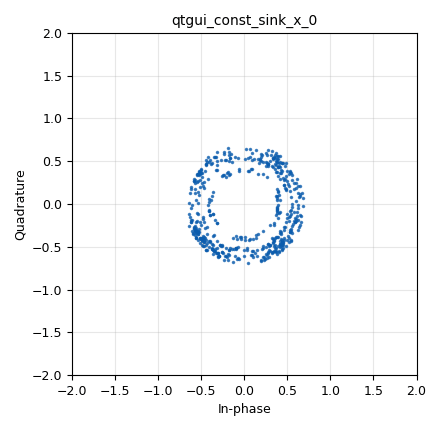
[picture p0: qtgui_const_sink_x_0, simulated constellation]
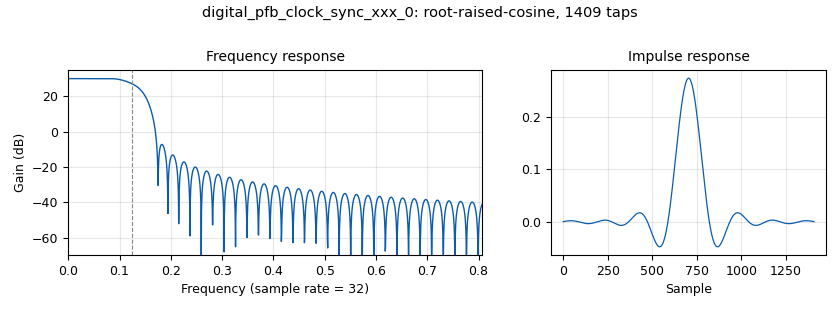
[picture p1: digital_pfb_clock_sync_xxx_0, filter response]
<?xml version='1.0' encoding='utf-8'?>
<?grc format='1' created='3.7.6'?>
<flow_graph>
<block>
<key>options</key>
<param><key>id</key><value>trcbpsk</value></param>
<param><key>generate_options</key><value>qt_gui</value></param>
<param><key>category</key><value>Custom</value></param>
</block>
<block>
<key>variable</key>
<param><key>id</key><value>excess_bw</value></param>
<param><key>value</key><value>0.35</value></param>
</block>
<block>
<key>variable</key>
<param><key>id</key><value>rrc_taps</value></param>
<param><key>value</key><value>firdes.root_raised_cosine(nfilts, nfilts, 1.0/float(sps), 0.35, 11*sps*nfilts)</value></param>
</block>
<block>
<key>variable</key>
<param><key>id</key><value>taps</value></param>
<param><key>value</key><value>[1.0, 0.25-0.25j, 0.50 + 0.10j, -0.3 + 0.2j]</value></param>
</block>
<block>
<key>variable</key>
<param><key>id</key><value>samp_rate</value></param>
<param><key>value</key><value>32000</value></param>
</block>
<block>
<key>variable</key>
<param><key>id</key><value>sps</value></param>
<param><key>value</key><value>4</value></param>
</block>
<block>
<key>variable</key>
<param><key>id</key><value>nfilts</value></param>
<param><key>value</key><value>32</value></param>
</block>
<block>
<key>qtgui_const_sink_x</key>
<param><key>id</key><value>qtgui_const_sink_x_0</value></param>
<param><key>type</key><value>complex</value></param>
<param><key>size</key><value>1024/2</value></param>
<param><key>grid</key><value>True</value></param>
<param><key>update_time</key><value>0.10/2</value></param>
<param><key>gui_hint</key><value>0,0,1,1</value></param>
</block>
<block>
<key>digital_psk_demod</key>
<param><key>id</key><value>digital_psk_demod_0</value></param>
<param><key>constellation_points</key><value>4</value></param>
<param><key>differential</key><value>True</value></param>
<param><key>samples_per_symbol</key><value>sps</value></param>
<param><key>excess_bw</key><value>0.35</value></param>
<param><key>freq_bw</key><value>6.28/100.0</value></param>
<param><key>timing_bw</key><value>6.28/100.0</value></param>
<param><key>phase_bw</key><value>6.28/100.0</value></param>
<param><key>mod_code</key><value>"gray"</value></param>
</block>
<block>
<key>blks2_packet_decoder</key>
<param><key>id</key><value>blks2_packet_decoder_0</value></param>
<param><key>type</key><value>byte</value></param>
<param><key>access_code</key><value></value></param>
<param><key>threshold</key><value>-1</value></param>
</block>
<block>
<key>blocks_file_sink</key>
<param><key>id</key><value>blocks_file_sink_0</value></param>
<param><key>file</key><value>/home/arun/Desktop/Untitled Folder/abc.txt</value></param>
<param><key>type</key><value>byte</value></param>
</block>
<block>
<key>blocks_throttle</key>
<param><key>id</key><value>blocks_throttle_0</value></param>
<param><key>type</key><value>complex</value></param>
<param><key>samples_per_second</key><value>samp_rate</value></param>
</block>
<block>
<key>analog_random_source_x</key>
<param><key>id</key><value>analog_random_source_x_0</value></param>
<param><key>type</key><value>byte</value></param>
<param><key>min</key><value>0</value></param>
<param><key>max</key><value>2</value></param>
<param><key>num_samps</key><value>1000</value></param>
<param><key>repeat</key><value>True</value></param>
</block>
<block>
<key>digital_pfb_clock_sync_xxx</key>
<param><key>id</key><value>digital_pfb_clock_sync_xxx_0</value></param>
<param><key>type</key><value>ccf</value></param>
<param><key>sps</key><value>sps</value></param>
<param><key>loop_bw</key><value>0.2</value></param>
<param><key>taps</key><value>rrc_taps</value></param>
<param><key>filter_size</key><value>nfilts</value></param>
<param><key>init_phase</key><value>16</value></param>
<param><key>max_dev</key><value>1.5</value></param>
<param><key>osps</key><value>sps/4</value></param>
</block>
<block>
<key>digital_lms_dd_equalizer_cc</key>
<param><key>id</key><value>digital_lms_dd_equalizer_cc_0</value></param>
<param><key>mu</key><value>0.000001</value></param>
<param><key>num_taps</key><value>21</value></param>
<param><key>sps</key><value>4</value></param>
<param><key>cnst</key><value>qpsk</value></param>
</block>
<block>
<key>digital_fll_band_edge_cc</key>
<param><key>id</key><value>digital_fll_band_edge_cc_0</value></param>
<param><key>type</key><value>cc</value></param>
<param><key>samps_per_sym</key><value>4</value></param>
<param><key>rolloff</key><value>excess_bw</value></param>
<param><key>filter_size</key><value>45</value></param>
<param><key>w</key><value>0.034</value></param>
</block>
<block>
<key>digital_costas_loop_cc</key>
<param><key>id</key><value>digital_costas_loop_cc_0</value></param>
<param><key>w</key><value>0.34</value></param>
<param><key>order</key><value>4</value></param>
</block>
<block>
<key>variable_constellation_rect</key>
<param><key>id</key><value>qpsk</value></param>
<param><key>sym_map</key><value>[0, 1, 3, 2]</value></param>
<param><key>const_points</key><value>[1,1j, -1, -1j]</value></param>
<param><key>rot_sym</key><value>4</value></param>
<param><key>real_sect</key><value>2</value></param>
<param><key>imag_sect</key><value>2</value></param>
<param><key>w_real_sect</key><value>1</value></param>
<param><key>w_imag_sect</key><value>1</value></param>
<param><key>softbits_lut</key><value>None</value></param>
</block>
<block>
<key>digital_psk_mod</key>
<param><key>id</key><value>digital_psk_mod_0</value></param>
<param><key>constellation_points</key><value>4</value></param>
<param><key>mod_code</key><value>"gray"</value></param>
<param><key>differential</key><value>True</value></param>
<param><key>samples_per_symbol</key><value>sps</value></param>
<param><key>excess_bw</key><value>excess_bw</value></param>
</block>
<connection><source_block_id>digital_costas_loop_cc_0</source_block_id><sink_block_id>qtgui_const_sink_x_0</sink_block_id><source_key>0</source_key><sink_key>0</sink_key></connection>
<connection><source_block_id>digital_fll_band_edge_cc_0</source_block_id><sink_block_id>digital_costas_loop_cc_0</sink_block_id><source_key>0</source_key><sink_key>0</sink_key></connection>
<connection><source_block_id>digital_lms_dd_equalizer_cc_0</source_block_id><sink_block_id>digital_fll_band_edge_cc_0</sink_block_id><source_key>0</source_key><sink_key>0</sink_key></connection>
<connection><source_block_id>digital_pfb_clock_sync_xxx_0</source_block_id><sink_block_id>digital_lms_dd_equalizer_cc_0</sink_block_id><source_key>0</source_key><sink_key>0</sink_key></connection>
<connection><source_block_id>blks2_packet_decoder_0</source_block_id><sink_block_id>blocks_file_sink_0</sink_block_id><source_key>0</source_key><sink_key>0</sink_key></connection>
<connection><source_block_id>digital_psk_demod_0</source_block_id><sink_block_id>blks2_packet_decoder_0</sink_block_id><source_key>0</source_key><sink_key>0</sink_key></connection>
<connection><source_block_id>digital_costas_loop_cc_0</source_block_id><sink_block_id>digital_psk_demod_0</sink_block_id><source_key>0</source_key><sink_key>0</sink_key></connection>
<connection><source_block_id>digital_psk_mod_0</source_block_id><sink_block_id>blocks_throttle_0</sink_block_id><source_key>0</source_key><sink_key>0</sink_key></connection>
<connection><source_block_id>blocks_throttle_0</source_block_id><sink_block_id>digital_pfb_clock_sync_xxx_0</sink_block_id><source_key>0</source_key><sink_key>0</sink_key></connection>
<connection><source_block_id>analog_random_source_x_0</source_block_id><sink_block_id>digital_psk_mod_0</sink_block_id><source_key>0</source_key><sink_key>0</sink_key></connection>
</flow_graph>
